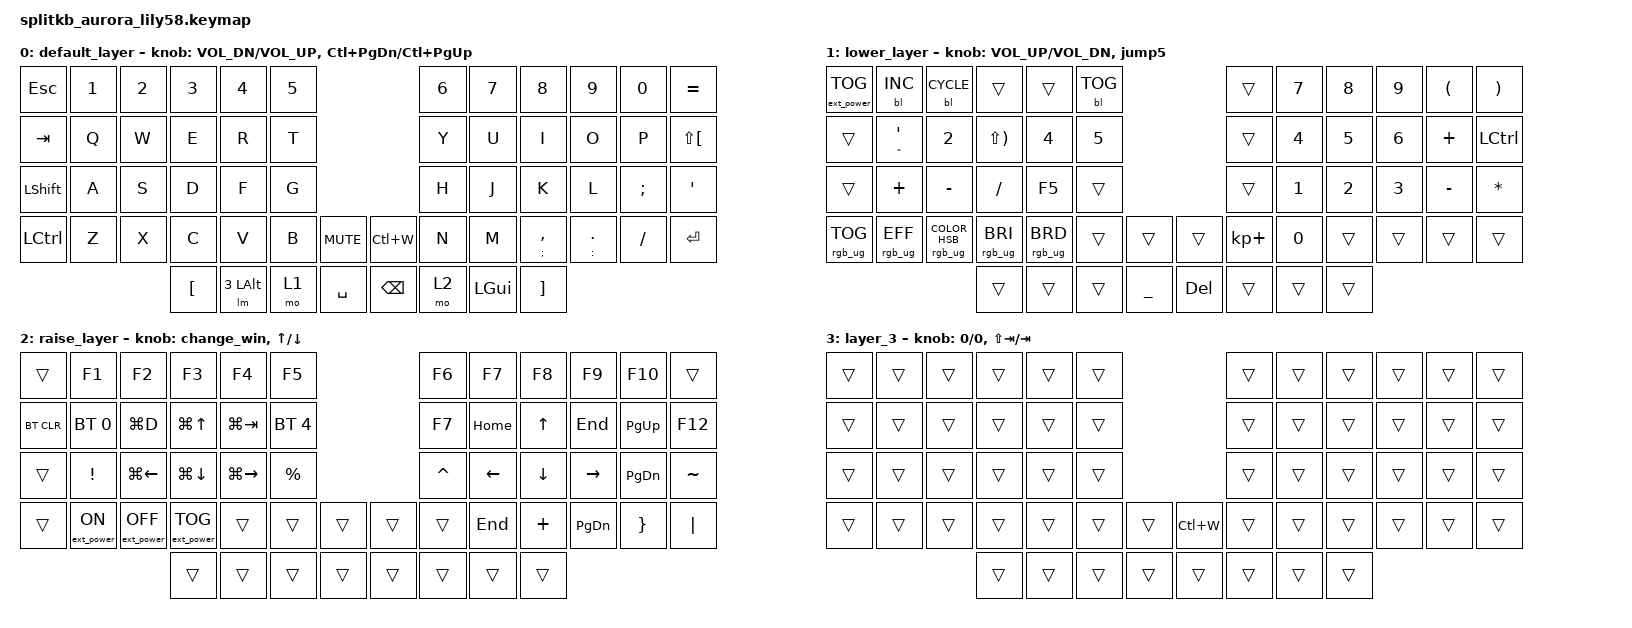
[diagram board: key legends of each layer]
/*
 * Copyright (c) 2022 The ZMK Contributors
 *
 * SPDX-License-Identifier: MIT
 */

#include <behaviors.dtsi>
#include <dt-bindings/zmk/backlight.h>
#include <dt-bindings/zmk/bt.h>
#include <dt-bindings/zmk/ext_power.h>
#include <dt-bindings/zmk/keys.h>
#include <dt-bindings/zmk/rgb.h>


&left_encoder {
    compatible = "alps,ec11";
    steps = <96>;
};

&right_encoder {
    compatible = "alps,ec11";
    steps = <96>;
};

&sensors {
    compatible = "zmk,keymap-sensors";
    sensors = <&left_encoder &right_encoder>;
    triggers-per-rotation = <24>;
};

/ {
    behaviors {
        new_behavior: new_behavior {
            compatible = "zmk,behavior-sensor-rotate-var";
            label = "NEW_BEHAVIOR";
            #sensor-binding-cells = <2>;
            bindings = <&none>, <&none>;
        };

        ea_m: ea_m {
            compatible = "zmk,behavior-mod-morph";
            label = "EA_M";
            bindings = <&ae>, <&AE_>;

            #binding-cells = <0>;
            mods = <(MOD_LSFT)>;
        };

        oe_m: oe_m {
            compatible = "zmk,behavior-mod-morph";
            label = "OE_M";
            bindings = <&oe>, <&OE_>;

            #binding-cells = <0>;
            mods = <(MOD_LSFT)>;
        };

        aa_m: aa_m {
            compatible = "zmk,behavior-mod-morph";
            label = "AA_M";
            bindings = <&aa>, <&AA_>;

            #binding-cells = <0>;
            mods = <(MOD_LSFT)>;
        };

        jump5: jump5 {
            compatible = "zmk,behavior-sensor-rotate";
            label = "JUMP5";
            #sensor-binding-cells = <0>;
            bindings = <&down5>, <&up5>;

            tap-ms = <1>;
        };

        change_win: change_win {
            compatible = "zmk,behavior-sensor-rotate";
            label = "CHANGE_WIN";
            #sensor-binding-cells = <0>;
            bindings = <&prev_win>, <&next_win>;
        };
    };

    macros {
        ae: ae {
            compatible = "zmk,behavior-macro";
            #binding-cells = <0>;
            bindings =
                <&macro_press>,
                <&kp RIGHT_ALT>,
                <&macro_tap>,
                <&kp KP_NUMBER_1 &kp KP_NUMBER_4 &kp KP_NUMBER_5>,
                <&macro_release>,
                <&kp RIGHT_ALT>;

            label = "AE";
            tap-ms = <1>;
            wait-ms = <0>;
        };

        AE_: AE_ {
            compatible = "zmk,behavior-macro";
            #binding-cells = <0>;
            bindings =
                <&macro_press>,
                <&kp RIGHT_ALT>,
                <&macro_tap>,
                <&kp KP_NUMBER_1 &kp KP_N4 &kp KP_NUMBER_6>,
                <&macro_release>,
                <&kp RIGHT_ALT>;

            label = "AE_";
            tap-ms = <1>;
        };

        oe: oe {
            compatible = "zmk,behavior-macro";
            #binding-cells = <0>;
            bindings =
                <&macro_press>,
                <&kp RIGHT_ALT>,
                <&macro_tap>,
                <&kp KP_NUMBER_0 &kp KP_NUMBER_2 &kp KP_N4 &kp KP_NUMBER_8>,
                <&macro_release>,
                <&kp RIGHT_ALT>;

            label = "OE";
            tap-ms = <1>;
        };

        OE_: OE_ {
            compatible = "zmk,behavior-macro";
            #binding-cells = <0>;
            bindings =
                <&macro_press>,
                <&kp RIGHT_ALT>,
                <&macro_tap>,
                <&kp KP_NUMBER_0 &kp KP_NUMBER_2 &kp KP_NUMBER_1 &kp KP_NUMBER_6>,
                <&macro_release>,
                <&kp RIGHT_ALT>;

            label = "OE_";
            tap-ms = <1>;
        };

        aa: aa {
            compatible = "zmk,behavior-macro";
            #binding-cells = <0>;
            bindings =
                <&macro_press>,
                <&kp RIGHT_ALT>,
                <&macro_tap>,
                <&kp KP_NUMBER_1 &kp KP_NUMBER_3 &kp KP_NUMBER_4>,
                <&macro_release>,
                <&kp RIGHT_ALT>;

            label = "AA";
            tap-ms = <1>;
            wait-ms = <0>;
        };

        AA_: AA_ {
            compatible = "zmk,behavior-macro";
            #binding-cells = <0>;
            bindings =
                <&macro_press>,
                <&kp RIGHT_ALT>,
                <&macro_tap>,
                <&kp KP_NUMBER_1 &kp KP_NUMBER_4 &kp KP_NUMBER_3>,
                <&macro_release>,
                <&kp RIGHT_ALT>;

            label = "AA_";
            tap-ms = <1>;
            wait-ms = <0>;
        };

        down5: down5 {
            compatible = "zmk,behavior-macro";
            #binding-cells = <0>;
            bindings = <&kp DOWN_ARROW &kp DOWN_ARROW &kp DOWN_ARROW &kp DOWN_ARROW &kp DOWN_ARROW>;
            label = "DOWN5";
        };

        up5: up5 {
            compatible = "zmk,behavior-macro";
            #binding-cells = <0>;
            bindings = <&kp UP_ARROW &kp UP_ARROW &kp UP_ARROW &kp UP_ARROW &kp UP_ARROW>;
            label = "UP5";
        };

        next_win: next_win {
            compatible = "zmk,behavior-macro";
            #binding-cells = <0>;
            bindings =
                <&macro_press>,
                <&kp LEFT_ALT>,
                <&macro_tap>,
                <&kp TAB>,
                <&macro_release>,
                <&kp LEFT_ALT>;

            label = "NEXT_WIN";
            wait-ms = <1000>;
        };

        prev_win: prev_win {
            compatible = "zmk,behavior-macro";
            #binding-cells = <0>;
            bindings =
                <&macro_press>,
                <&kp LEFT_ALT>,
                <&macro_tap>,
                <&kp LS(TAB)>,
                <&macro_release>,
                <&kp LEFT_ALT>;

            label = "PREV_WIN";
            wait-ms = <1000>;
        };

        /**
         * Temporarily switches to a layer (`&mo`) while a modifier is held.
         * Analogous to QMK's `LM()`, using a parameterized macro.
         *
         * Params:
         *  1. Layer to switch to
         *  2. Modifier to press while layer is active
         *
         * Example:
         *  `&lm NUM_LAYER LSHIFT`
         */

        lm: lm {
            compatible = "zmk,behavior-macro-two-param";
            wait-ms = <0>;
            tap-ms = <0>;
            #binding-cells = <2>;
            bindings =
                <&macro_param_1to1>,
                <&macro_press>,
                <&mo MACRO_PLACEHOLDER &macro_param_2to1>,
                <&macro_press>,
                <&kp MACRO_PLACEHOLDER>,
                <&macro_pause_for_release>,
                <&macro_param_2to1>,
                <&macro_release>,
                <&kp MACRO_PLACEHOLDER &macro_param_1to1>,
                <&macro_release>,
                <&mo MACRO_PLACEHOLDER>;
        };

        light: light {
            compatible = "zmk,behavior-macro";
            #binding-cells = <0>;
            bindings = <&bl BL_SET 100>;
            label = "LIGHT";
        };
    };

    keymap {
        compatible = "zmk,keymap";

        default_layer {
            bindings = <
&kp ESC         &kp N1  &kp N2  &kp N3            &kp N4          &kp N5                               &kp N6  &kp N7    &kp N8               &kp N9            &kp N0         &kp EQUAL
&kp TAB         &kp Q   &kp W   &kp E             &kp R           &kp T                                &kp Y   &kp U     &kp I                &kp O             &kp P          &kp LS(LEFT_BRACKET)
&kp LEFT_SHIFT  &kp A   &kp S   &kp D             &kp F           &kp G                                &kp H   &kp J     &kp K                &kp L             &kp SEMICOLON  &kp SINGLE_QUOTE
&kp LCTRL       &kp Z   &kp X   &kp C             &kp V           &kp B   &kp C_MUTE    &kp LC(W)      &kp N   &kp M     &mt SEMICOLON COMMA  &mt COLON PERIOD  &kp FSLH       &kp ENTER
                                &kp LEFT_BRACKET  &lm 3 LEFT_ALT  &mo 1   &kp SPACE     &kp BACKSPACE  &mo 2   &kp LGUI  &kp RIGHT_BRACKET
            >;

            sensor-bindings =
                <&inc_dec_kp C_VOL_DN C_VOLUME_UP>,
                <&inc_dec_kp LC(PAGE_DOWN) LC(PAGE_UP)>;
        };

        lower_layer {
            bindings = <
&ext_power EP_TOG  &bl BL_INC                      &bl BL_CYCLE                    &trans           &trans           &bl BL_TOG                                &trans       &kp N7        &kp N8  &kp N9  &kp LEFT_PARENTHESIS  &kp RIGHT_PARENTHESIS
&trans             &mt DOUBLE_QUOTES SINGLE_QUOTE  &kp N2                          &kp LS(RPAR)     &kp N4           &kp N5                                    &trans       &kp NUMBER_4  &kp N5  &kp N6  &kp PLUS              &kp LCTRL
&trans             &kp PLUS                        &kp MINUS                       &kp FSLH         &kp F5           &trans                                    &trans       &kp N1        &kp N2  &kp N3  &kp MINUS             &kp STAR
&rgb_ug RGB_TOG    &rgb_ug RGB_EFF                 &rgb_ug RGB_COLOR_HSB(0,0,100)  &rgb_ug RGB_BRI  &rgb_ug RGB_BRD  &trans      &trans            &trans      &kp KP_PLUS  &kp N0        &trans  &trans  &trans                &trans
                                                                                   &trans           &trans           &trans      &kp UNDERSCORE    &kp DELETE  &trans       &trans        &trans
            >;

            sensor-bindings = <&inc_dec_kp C_VOL_UP C_VOL_DN>, <&jump5>;
        };

        raise_layer {
            bindings = <
                &trans      &kp F1            &kp F2             &kp F3             &kp F4         &kp F5                          &kp F6     &kp F7    &kp F8          &kp F9         &kp F10    &trans
                &bt BT_CLR  &bt BT_SEL 0      &kp LG(D)          &kp LG(UP)         &kp LG(TAB)    &bt BT_SEL 4                    &kp F7     &kp HOME  &kp UP_ARROW    &kp END        &kp PG_UP  &kp F12
                &trans      &kp EXCL          &kp LG(LEFT)       &kp LG(DOWN)       &kp LG(RIGHT)  &kp PRCNT                       &kp CARET  &kp LEFT  &kp DOWN_ARROW  &kp RIGHT      &kp PG_DN  &kp TILDE
                &trans      &ext_power EP_ON  &ext_power EP_OFF  &ext_power EP_TOG  &trans         &trans        &trans    &trans  &trans     &kp END   &kp PLUS        &kp PAGE_DOWN  &kp RBRC   &kp PIPE
                                                 &trans             &trans         &trans        &trans    &trans  &trans     &trans    &trans
            >;

            sensor-bindings = <&change_win>, <&inc_dec_kp UP_ARROW DOWN>;
        };

        layer_3 {
            bindings = <
&trans  &trans  &trans  &trans  &trans  &trans                       &trans  &trans  &trans  &trans  &trans  &trans
&trans  &trans  &trans  &trans  &trans  &trans                       &trans  &trans  &trans  &trans  &trans  &trans
&trans  &trans  &trans  &trans  &trans  &trans                       &trans  &trans  &trans  &trans  &trans  &trans
&trans  &trans  &trans  &trans  &trans  &trans  &trans    &kp LC(W)  &trans  &trans  &trans  &trans  &trans  &trans
                        &trans  &trans  &trans  &trans    &trans     &trans  &trans  &trans
            >;

            sensor-bindings = <&inc_dec_kp 0 0>, <&inc_dec_kp LS(TAB) TAB>;
        };
    };
};
